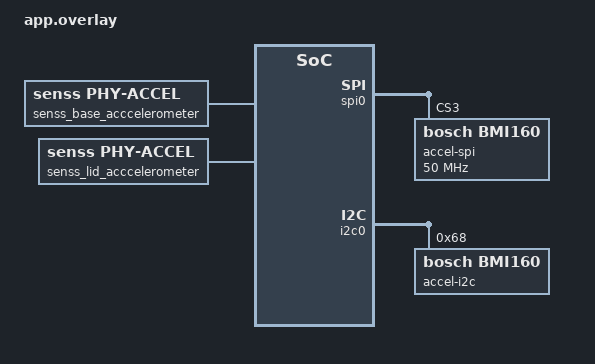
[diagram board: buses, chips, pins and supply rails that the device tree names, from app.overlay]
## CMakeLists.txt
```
# SPDX-License-Identifier: Apache-2.0

cmake_minimum_required(VERSION 3.20.0)

find_package(Zephyr REQUIRED HINTS $ENV{ZEPHYR_BASE})
project(senss)

FILE(GLOB app_sources src/main.c)

target_sources(app PRIVATE ${app_sources})
```

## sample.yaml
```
sample:
  description: sensorsubsys sample application
  name: sensorsubsys
common:
    tags: introduction
    integration_platforms:
      - native_posix
    harness: console
    harness_config:
      type: one_line
      regex:
        - "Hello Sensor Subsystem! (.*)"
tests:
  sample.basic.sensorsubsys:
    tags: introduction
```

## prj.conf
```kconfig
CONFIG_EMUL=y
CONFIG_I2C=y
CONFIG_I2C_EMUL=y
CONFIG_SPI=y
CONFIG_SPI_EMUL=y
CONFIG_BMI160=y
CONFIG_EMUL_BMI160=y
CONFIG_SENSOR=y
CONFIG_BMI160_TRIGGER_NONE=y
#CONFIG_SENSS=y
#CONFIG_SENSS_SENSOR_HINGE_ANGLE=y
#CONFIG_SENSS_SENSOR_MOTION_DETECTOR=y
#CONFIG_SENSS_SENSOR_PHY_ACC=y
```

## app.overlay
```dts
/*
 * Copyright (c) 2022 Intel Corporation
 *
 * SPDX-License-Identifier: Apache-2.0
 *
 * Application overlay for testing the devicetree.h API.
 *
 * Names in this file should be chosen in a way that won't conflict
 * with real-world devicetree nodes, to allow these tests to run on
 * (and be extended to test) real hardware.
 */

#include "senss.dtsi"

&senss {
	base_accel: base-accel {
		compatible = "senss,phy-accel";
		status = "okay";
		sensor-type = <0x73>;
		sensor-index = <0>;
		label = "senss_base_acccelerometer";
		vendor = "VND";
		model = "Test";
		friendly-name = "Base Accelerometer Sensor";
		underlying-device = <&bmi_i2c>;
		minimal-interval = <10000>;
		rotation-matrix = <0 1 0
				   1 0 0
				   0 0 (-1)>;
	};

	lid_accel: lid-accel {
		compatible = "senss,phy-accel";
		status = "okay";
		sensor-type = <0x73>;
		sensor-index = <1>;
		label = "senss_lid_acccelerometer";
		vendor = "VND";
		model = "Test";
		friendly-name = "Lid Accelerometer Sensor";
		underlying-device = <&bmi_spi>;
		minimal-interval = <10000>;
		rotation-matrix = <1 0 0
				   0 1 0
				   0 0 (-1)>;
	};
};

&spi0 {
	bmi_spi: bmi@3 {
		compatible = "bosch,bmi160";
		spi-max-frequency = <50000000>;
		reg = <3>;
		label = "accel-spi";
	};
};

&i2c0 {
	bmi_i2c: bmi@68 {
		compatible = "bosch,bmi160";
		reg = <0x68>;
		label = "accel-i2c";
	};
};
```

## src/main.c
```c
/*
 * Copyright (c) 2022 Intel Corporation.
 *
 * SPDX-License-Identifier: Apache-2.0
 */
#include <zephyr.h>
#include <senss/senss.h>
#include <stdio.h>
#include <string.h>
#include <stdlib.h>

static int data_event_callback(
		senss_sensor_handle_t handle,
		void *buf, int size, void *param)
{
	const struct senss_sensor_info *info = senss_get_sensor_info(handle);

	printf("App [%s]->\n", __func__);

	printf("Received sensor data from sensor: %s, type: 0x%x, sensor index: %d\n",
		info->name,
		info->type,
		info->sensor_index
	);

	if (info->type == SENSS_SENSOR_TYPE_MOTION_ACCELEROMETER_3D) {
		struct senss_sensor_value_3d_int32* value = buf;
		printf("Received sensor data readings : %d\n",
			value->header.reading_count);
		for (int i = 0; i < value->header.reading_count; i++) {
			printf("Accel sensor data : x: %d, y: %d, z: %d\n",
				value->readings[i].x,
				value->readings[i].y,
				value->readings[i].z);
		}
	} else if (info->type == SENSS_SENSOR_TYPE_MOTION_HINGE_ANGLE) {
		struct senss_sensor_value_int32* value = buf;
		printf("Received sensor data readings : %d\n",
			value->header.reading_count);
		for (int i = 0; i < value->header.reading_count; i++) {
			printf("hinge sensor data : %d\n",
				value->readings[i].v);
		}
	}

	printf("App [%s]<-\n", __func__);

	return 0;
}

void main(void)
{
	int ret;
	ret = senss_init();
	if (ret != 0 ) {
		printf("Failed to init sensor subsystem! \n");
		return;
	}

	/* Enumerate all sensor instances */
	int sensor_count;
	sensor_count = senss_get_sensor_count(SENSS_SENSOR_TYPE_ALL, -1);

	if (sensor_count > 0 ) {
		struct senss_sensor_info *sensor_info =
			malloc(sensor_count * sizeof(struct senss_sensor_info));

		ret = senss_find_sensor(SENSS_SENSOR_TYPE_ALL, -1,
			sensor_info, sensor_count);
		if (ret != 0) {
			for ( int i = 0; i < ret; i++ ) {
				printf("Find sensor: name : %s, type: 0x%x\n",
					sensor_info[i].name,
					sensor_info[i].type);
			}
		}
	}

	/* Open accelerometer instance with sensor index 0 and receive streaming data */
	senss_sensor_handle_t acc_handle;
	ret = senss_open_sensor(SENSS_SENSOR_TYPE_MOTION_ACCELEROMETER_3D,
		0, &acc_handle);
	if (!ret) {
		senss_register_data_event_callback(acc_handle,
			data_event_callback, NULL);

		/* Set 100 Hz frequency */
		senss_set_interval(acc_handle, 10 * USEC_PER_MSEC);

		/* Set streaming mode */
		senss_set_sensitivity(acc_handle, -1, 0);
	}

	senss_sensor_handle_t hinge_handle;
	ret = senss_open_sensor(SENSS_SENSOR_TYPE_MOTION_HINGE_ANGLE,
		0, &hinge_handle);
	if (!ret) {
		senss_register_data_event_callback(hinge_handle,
			data_event_callback, NULL);

		/* Set 100 Hz frequency */
		senss_set_interval(hinge_handle, 10 * USEC_PER_MSEC);

		/* Set streaming mode */
		senss_set_sensitivity(hinge_handle, -1, 0);
	}

	while (true) {
		k_sleep(K_SECONDS(10));
	}

}
```
